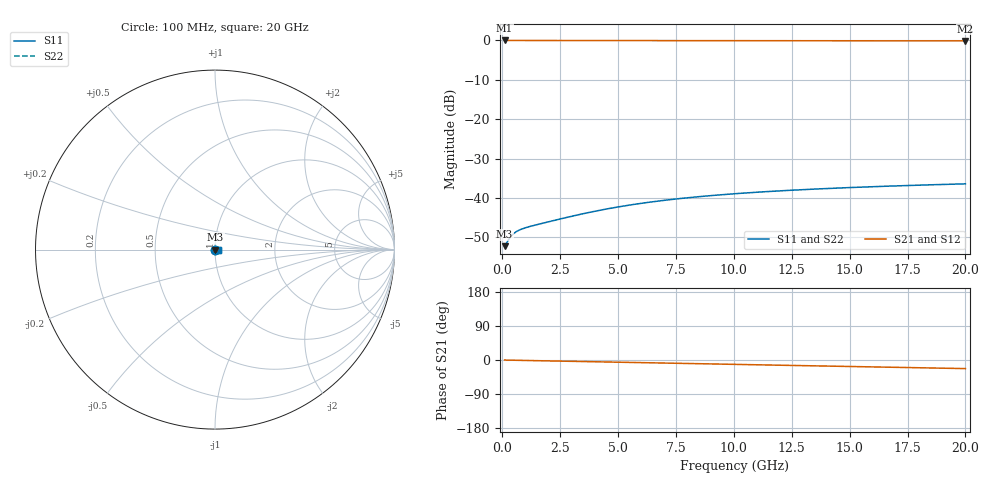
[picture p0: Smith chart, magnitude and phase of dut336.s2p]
! Touchstone file exported from HFSS 2026.1.0
!  File:  C:/ffzhzh/LocalFiles/Ansys_Project_Files/temp_train_TMRDL_336_1783003749_46388.aedt
!  Generated:  10:50:20 PM Jul  2, 2026
!  Design:  TMRDL
!  Project:  temp_train_TMRDL_336_1783003749_46388
! Variables:
!  h_bsmrdl = 2um
!  h_ox = 20um
!  h_rdl = 5um
!  h_sub = 80um
!  h_tmrdl = 3.66um
!  h_tsv = 80um
!  h_via = 3um
!  l_bsmrdl = 300um
!  l_sub = 803.74um
!  l_tmrdl = 403.74um
!  m_sub = 200um
!  pitch = 21.67um
!  r_tsv = 6um
!  s_tmrdl = 10um
!  w_bsmrdl = 18um
!  w_sub = 500um
!  w_tmrdl = 17.85um
!  x_tsv_center1 = 412.665um
!  x_tsv_center2 = 730.665um
!  x_tsv_center3 = 1152.255um
!  x_tsv_center4 = 1470.255um
!  x_tsv_center5 = 1891.845um
!  x_tsv_center6 = 2209.845um
# GHz S MA R 50.000000
! Terminal data exported
! Port[1] = TM_RDL1_1_T1
! Port[2] = TM_RDL1_1_T2
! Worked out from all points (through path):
!   200 points, 100 MHz to 20 GHz, reference 50 ohm
!   highest |S21| = -0.02 dB at 100 MHz (marker M1); lowest = -0.1 dB at 20 GHz (marker M2)
!   group delay of S21, straight-line fit = 3.14 ps
!   lowest |S11| = -52.2 dB at 100 MHz (marker M3), VSWR 1.00, Z = 50.2 + j0.0463 ohm
!   |S11| at or under -10 dB: start of sweep to end of sweep
!   |S22| runs from -52.2 to -36.4 dB; largest |S21 - S12| = 2.7e-15
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0.1  0.002449 10.9  0.9976 -0.1  0.9976 -0.1  0.002449 10.9
! Gamma 0 0 0 0
! Port Impedance 50 0 50 0
0.3  0.003057 20.9  0.9972 -0.4  0.9972 -0.4  0.003057 20.9
0.4  0.003334 22.0  0.9969 -0.5  0.9969 -0.5  0.003334 22.0
0.5  0.003557 22.4  0.9967 -0.6  0.9967 -0.6  0.003557 22.4
0.6  0.003734 22.5  0.9966 -0.8  0.9966 -0.8  0.003734 22.5
0.7  0.003877 22.6  0.9964 -0.9  0.9964 -0.9  0.003877 22.6
0.8  0.003996 22.7  0.9963 -1.0  0.9963 -1.0  0.003996 22.7
1.1  0.004278 23.6  0.9961 -1.3  0.9961 -1.3  0.004279 23.6
1.5  0.004596 25.5  0.9959 -1.8  0.9959 -1.8  0.004596 25.5
2.7  0.005599 30.5  0.9953 -3.2  0.9953 -3.2  0.005599 30.5
3.5  0.00633 32.1  0.9949 -4.1  0.9949 -4.1  0.00633 32.1
4.3  0.007071 32.5  0.9944 -5.1  0.9944 -5.1  0.007071 32.5
5.1  0.007792 32.0  0.9938 -6.0  0.9938 -6.0  0.007793 32.0
5.9  0.008479 30.9  0.9933 -6.9  0.9933 -6.9  0.00848 30.9
6.8  0.0092 29.3  0.9926 -7.9  0.9926 -7.9  0.009201 29.3
8.3  0.01027 26.0  0.9916 -9.6  0.9916 -9.6  0.01028 26.0
10.1  0.01137 21.7  0.9904 -11.6  0.9904 -11.6  0.01137 21.7
11.7  0.01219 17.9  0.9895 -13.4  0.9895 -13.4  0.0122 17.9
13.4  0.01295 14.0  0.9886 -15.3  0.9886 -15.3  0.01295 14.0
15  0.01357 10.3  0.9878 -17.1  0.9878 -17.1  0.01357 10.3
16.7  0.01415 6.6  0.987 -19.0  0.987 -19.0  0.01416 6.6
20  0.01513 -0.3  0.9856 -22.7  0.9856 -22.7  0.01514 -0.3
